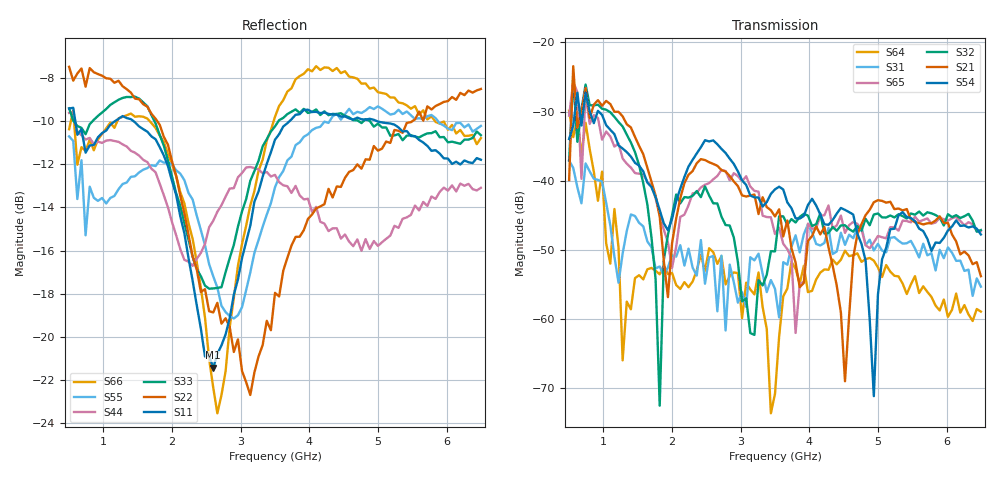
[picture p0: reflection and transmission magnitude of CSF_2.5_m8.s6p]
!Keysight Technologies,M9804A,MY58100912,A.14.10.03
!Date: Thursday, April 27, 2023 10:28:33
!Correction: S11(C  6-Port  )
!S12(C  6-Port  )
!S13(C  6-Port  )
!S14(C  6-Port  )
!S15(C  6-Port  )
!S16(C  6-Port  )
!S21(C  6-Port  )
!S22(C  6-Port  )
!S23(C  6-Port  )
!S24(C  6-Port  )
!S25(C  6-Port  )
!S26(C  6-Port  )
!S31(C  6-Port  )
!S32(C  6-Port  )
!S33(C  6-Port  )
!S34(C  6-Port  )
!S35(C  6-Port  )
!S36(C  6-Port  )
!S41(C  6-Port  )
!S42(C  6-Port  )
!S43(C  6-Port  )
!S44(C  6-Port  )
!S45(C  6-Port  )
!S46(C  6-Port  )
!S51(C  6-Port  )
!S52(C  6-Port  )
!S53(C  6-Port  )
!S54(C  6-Port  )
!S55(C  6-Port  )
!S56(C  6-Port  )
!S61(C  6-Port  )
!S62(C  6-Port  )
!S63(C  6-Port  )
!S64(C  6-Port  )
!S65(C  6-Port  )
!S66(C  6-Port  )
!S6P File: Measurement: :
# Hz S  RI  R 50
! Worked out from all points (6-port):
!   101 points, 500 MHz to 6.5 GHz, reference 50 ohm
!   strongest paths, dB at 500 MHz, 2 GHz, 3.5 GHz, 5 GHz, 6.5 GHz:
!     S54: -34.0, -45.5, -41.2, -56.4, -47.8
!     S21: -39.9, -49.0, -45.2, -42.8, -53.8
!     S32: -37.1, -45.0, -50.2, -44.7, -47.1
!     S65: -30.6, -52.6, -47.7, -48.0, -47.3
!     S31: -37.1, -50.8, -55.6, -49.1, -55.3
!     S64: -29.9, -53.3, -70.8, -52.5, -58.9
!   lowest |S11| = -21.4 dB at 2.6 GHz (marker M1), VSWR 1.19, Z = 42.5 + j2.21 ohm
!   |S11| at or under -10 dB: 589.5 MHz to 1.172 GHz (582.6 MHz wide, 66.1 % of centre); 1.436 GHz to 3.714 GHz (2.278 GHz wide, 88.5 % of centre); 4.981 GHz to end of sweep
